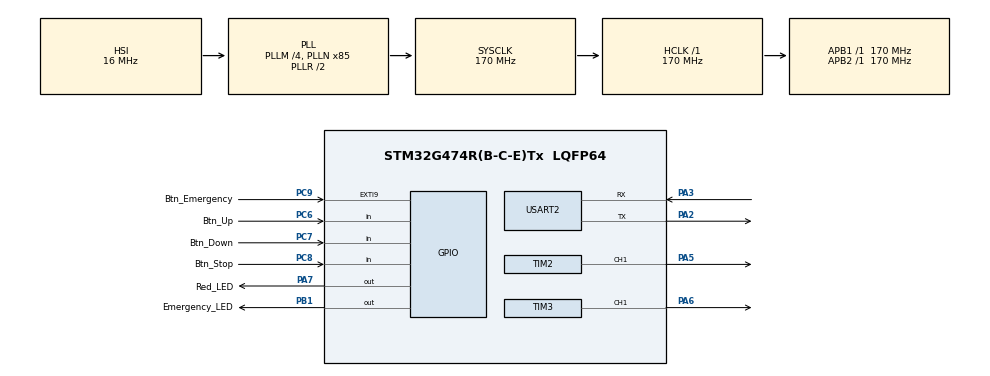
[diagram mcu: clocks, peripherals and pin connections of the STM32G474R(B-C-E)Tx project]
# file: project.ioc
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Mcu.Family=STM32G4
Mcu.Name=STM32G474R(B-C-E)Tx
Mcu.Package=LQFP64
NVIC.EXTI9_5_IRQn=true\:0\:0\:false\:false\:true\:true\:true\:true
NVIC.PriorityGroup=NVIC_PRIORITYGROUP_4
NVIC.USART2_IRQn=true\:1\:0\:true\:false\:true\:true\:true\:true
PA13.GPIO_Label=T_SWDIO
PA13.Signal=SYS_JTMS-SWDIO
PA14.GPIO_Label=T_SWCLK
PA14.Signal=SYS_JTCK-SWCLK
PA2.Mode=Asynchronous
PA2.Signal=USART2_TX
PA3.Mode=Asynchronous
PA3.Signal=USART2_RX
PA5.Signal=S_TIM2_CH1
PA6.Signal=S_TIM3_CH1
PA7.GPIO_Label=Red_LED
PA7.Signal=GPIO_Output
PB1.GPIO_Label=Emergency_LED
PB1.Signal=GPIO_Output
PB3.GPIO_Label=T_SWO
PB3.Signal=SYS_JTDO-SWO
PC14-OSC32_IN.GPIO_Label=RCC_OSC32_IN
PC14-OSC32_IN.Signal=RCC_OSC32_IN
PC15-OSC32_OUT.GPIO_Label=RCC_OSC32_OUT
PC15-OSC32_OUT.Signal=RCC_OSC32_OUT
PC6.GPIO_Label=Btn_Up
PC6.GPIO_PuPd=GPIO_PULLUP
PC6.Signal=GPIO_Input
PC7.GPIO_Label=Btn_Down
PC7.GPIO_PuPd=GPIO_PULLUP
PC7.Signal=GPIO_Input
PC8.GPIO_Label=Btn_Stop
PC8.GPIO_PuPd=GPIO_PULLUP
PC8.Signal=GPIO_Input
PC9.GPIO_Label=Btn_Emergency
PC9.GPIO_PuPd=GPIO_PULLUP
PC9.Signal=GPXTI9
PF0-OSC_IN.GPIO_Label=RCC_OSC_IN
PF0-OSC_IN.Signal=RCC_OSC_IN
PF1-OSC_OUT.GPIO_Label=RCC_OSC_OUT
PF1-OSC_OUT.Signal=RCC_OSC_OUT
ProjectManager.HeapSize=0x200
ProjectManager.StackSize=0x400
ProjectManager.TargetToolchain=STM32CubeIDE
RCC.ADC12Freq_Value=170000000
RCC.ADC345Freq_Value=170000000
RCC.AHBFreq_Value=170000000
RCC.APB1Freq_Value=170000000
RCC.APB1TimFreq_Value=170000000
RCC.APB2Freq_Value=170000000
RCC.APB2TimFreq_Value=170000000
RCC.CortexFreq_Value=170000000
RCC.EXTERNAL_CLOCK_VALUE=12288000
RCC.HCLKFreq_Value=170000000
RCC.HSE_VALUE=24000000
RCC.HSI48_VALUE=48000000
RCC.HSI_VALUE=16000000
RCC.LSE_VALUE=32768
RCC.PLLM=RCC_PLLM_DIV4
RCC.PLLN=85
RCC.RTCClockSelection=RCC_RTCCLKSOURCE_LSE
RCC.SYSCLKFreq_VALUE=170000000
RCC.SYSCLKSource=RCC_SYSCLKSOURCE_PLLCLK
RCC.USBFreq_Value=170000000
RCC.VCOOutputFreq_Value=340000000
SH.S_TIM2_CH1.0=TIM2_CH1,PWM Generation1 CH1
SH.S_TIM3_CH1.0=TIM3_CH1,PWM Generation1 CH1
TIM2.Channel-PWM\ Generation1\ CH1=TIM_CHANNEL_1
TIM2.Prescaler=169
TIM3.Channel-PWM\ Generation1\ CH1=TIM_CHANNEL_1
TIM3.Prescaler=169
USART2.VirtualMode-Asynchronous=VM_ASYNC
VP_SYS_VS_DBSignals.Mode=DisableDeadBatterySignals
board=NUCLEO-G474RE

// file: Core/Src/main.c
/* USER CODE BEGIN Header */
/**
  ******************************************************************************
  * @file           : main.c
  * @brief          : Smart Roller Shutter Control System for STM32G474RE
  *
  * 【專案設計提示詞與硬體規格摘要】
  * 1. 系統時脈：HSI 配置 PLL，核心主頻 170 MHz (FLASH_LATENCY_4, 電壓調節 Scale 1)。
  * 2. PWM 輸出 (漸亮呼吸燈)：
     - PA5 (TIM2_CH1)：綠燈，上升動作 0%~99% 漸亮 (Prescaler = 170-1, Period = 99)。
     - PA6 (TIM3_CH1)：黃燈，下降動作 0%~99% 漸亮 (Prescaler = 170-1, Period = 99)。
  * 3. GPIO 輸出：
     - PA7 (Red_LED)：推挽輸出，停止到位告示燈，停機時點亮 3 秒。
     - PB1 (Emergency_LED)：推挽輸出，緊急警報燈，急停時以 250ms 間隔規律閃爍。
  * 4. GPIO 輸入 (皆啟用內部 Pull-up，10ms 防彈跳)：
     - PC6 (Btn_Up)：上升按鈕。
     - PC7 (Btn_Down)：下降按鈕。
     - PC8 (Btn_Stop)：停止按鈕。
  * 5. 外部中斷 (EXTI)：
     - PC9 (Btn_Emergency)：緊急按鈕 (下降沿觸發，EXTI9_5_IRQn 最高優先級，旗標法處理)。
  * 6. 序列埠通訊 (USART2)：
     - PA2 (TX) / PA3 (RX)，115200 8N1，啟用中斷接收，支援終端機快捷指令。
  ******************************************************************************
  */
/* USER CODE END Header */

#include "main.h"
#include <stdio.h>
#include <string.h>

/* USER CODE BEGIN PTD */
/**
  * @brief 智慧鐵捲門有限狀態機 (FSM) 狀態定義
  */
typedef enum {
    STATE_IDLE = 0,       /* 0: 完全待機（所有燈號關閉，等待按鈕或指令） */
    STATE_RISING,         /* 1: 上升中（啟動 TIM2 PWM 綠燈 5 秒內漸亮至 99%） */
    STATE_FALLING,        /* 2: 下降中（啟動 TIM3 PWM 黃燈 5 秒內漸亮至 99%） */
    STATE_EMERGENCY,      /* 3: 緊急互鎖/急停（切斷 PWM，紅燈滅，PB1 警報燈 250ms 閃爍） */
    STATE_PAUSE           /* 4: 暫停保持（紅燈點亮維持 3 秒後自動歸零回待機） */
} SystemState_t;
/* USER CODE END PTD */

/* USER CODE BEGIN PD */
#define DEBOUNCE_DELAY_MS    10     /* 按鈕防彈跳間隔 (ms) */
#define TRAVEL_DURATION_MS   5000   /* 鐵捲門完整行程時間 (5秒) */
#define EMERGENCY_FLASH_MS   250    /* 緊急警報燈閃爍間隔 (250ms) */
#define PAUSE_DURATION_MS    3000   /* 暫停紅燈維持時間 (3秒) */
/* USER CODE END PD */

UART_HandleTypeDef huart2;
TIM_HandleTypeDef htim2;
TIM_HandleTypeDef htim3;

/* USER CODE BEGIN PV */
/* 系統狀態與計時變數 */
static SystemState_t current_state = STATE_IDLE;
static uint32_t state_timer = 0;
static uint32_t flash_timer = 0;
static uint32_t debounce_timer = 0;

/* PLC 聯網日誌統計計數器 */
static uint32_t total_ops = 0;
static uint32_t count_up = 0;
static uint32_t count_down = 0;
static uint32_t count_stop = 0;
static uint32_t count_emergency = 0;

/* 硬體與通訊變數 */
static uint8_t uart_rx_byte;
static volatile uint8_t emergency_flag = 0;
static GPIO_PinState last_btn_up = GPIO_PIN_SET;
static GPIO_PinState last_btn_down = GPIO_PIN_SET;
static GPIO_PinState last_btn_stop = GPIO_PIN_SET;
/* USER CODE END PV */

void SystemClock_Config(void);
static void MX_GPIO_Init(void);
static void MX_USART2_UART_Init(void);
static void MX_TIM2_Init(void);
static void MX_TIM3_Init(void);
/* USER CODE BEGIN PFP */
void Log_System_Status(const char* cmd_name);
void Process_Command(char cmd);
void Handle_Buttons(void);
/* USER CODE END PFP */

/* USER CODE BEGIN 0 */

/**
  * @brief  PLC 聯網日誌 (PLC Logger)
  * @note   每當有動作被觸發時，透過 USART2 傳送 Uptime 運行秒數以及各項操作累計次數
  */
void Log_System_Status(const char* cmd_name) {
    char tx_buf[128];
    uint32_t uptime_sec = HAL_GetTick() / 1000;

    int len = snprintf(tx_buf, sizeof(tx_buf),
        "[PLC LOG] Cmd: %s | Uptime: %lu s | Total: %lu | Up: %lu | Down: %lu | Stop: %lu | Emergency: %lu\r\n",
        cmd_name, uptime_sec, total_ops, count_up, count_down, count_stop, count_emergency);

    HAL_UART_Transmit(&huart2, (uint8_t*)tx_buf, len, HAL_MAX_DELAY);
}

/**
  * @brief  終端機指令與按鈕事件處理器
  * @note   支援對應指令：
  *         - u / U -> 觸發上升
  *         - d / D -> 觸發下降
  *         - s / S -> 觸發停止
  *         - e / E / c / C -> 切換/解除緊急互鎖
  */
void Process_Command(char cmd) {
    switch (cmd) {
        case 'u':
        case 'U':
            if (current_state == STATE_IDLE) {
                current_state = STATE_RISING;
                state_timer = HAL_GetTick();
                count_up++;
                total_ops++;
                Log_System_Status("UP");
            }
            break;

        case 'd':
        case 'D':
            if (current_state == STATE_IDLE) {
                current_state = STATE_FALLING;
                state_timer = HAL_GetTick();
                count_down++;
                total_ops++;
                Log_System_Status("DOWN");
            }
            break;

        case 's':
        case 'S':
            if (current_state == STATE_RISING || current_state == STATE_FALLING) {
                current_state = STATE_PAUSE;
                state_timer = HAL_GetTick();
                // 立即關閉 PWM 輸出
                __HAL_TIM_SET_COMPARE(&htim2, TIM_CHANNEL_1, 0);
                __HAL_TIM_SET_COMPARE(&htim3, TIM_CHANNEL_1, 0);
                HAL_TIM_PWM_Stop(&htim2, TIM_CHANNEL_1);
                HAL_TIM_PWM_Stop(&htim3, TIM_CHANNEL_1);
                // 點亮停止到位告示紅燈 (PA7)
                HAL_GPIO_WritePin(Red_LED_GPIO_Port, Red_LED_Pin, GPIO_PIN_SET);
                count_stop++;
                total_ops++;
                Log_System_Status("STOP");
            }
            break;

        case 'e':
        case 'E':
        case 'c':
        case 'C':
            if (current_state != STATE_EMERGENCY) {
                current_state = STATE_EMERGENCY;
                flash_timer = HAL_GetTick();
                // 立即切斷所有 PWM 與紅燈
                __HAL_TIM_SET_COMPARE(&htim2, TIM_CHANNEL_1, 0);
                __HAL_TIM_SET_COMPARE(&htim3, TIM_CHANNEL_1, 0);
                HAL_TIM_PWM_Stop(&htim2, TIM_CHANNEL_1);
                HAL_TIM_PWM_Stop(&htim3, TIM_CHANNEL_1);
                HAL_GPIO_WritePin(Red_LED_GPIO_Port, Red_LED_Pin, GPIO_PIN_RESET);

                count_emergency++;
                total_ops++;
                Log_System_Status("EMERGENCY_LOCK");
            } else {
                // 再次觸發則解除鎖定，回到完全待機狀態
                current_state = STATE_IDLE;
                HAL_GPIO_WritePin(Emergency_LED_GPIO_Port, Emergency_LED_Pin, GPIO_PIN_RESET);
                Log_System_Status("EMERGENCY_RELEASE");
            }
            break;

        default:
            break;
    }
}

/**
  * @brief  按鈕防彈跳與實體按鈕輪詢處理 (以 10ms 間隔執行)
  */
void Handle_Buttons(void) {
    if (HAL_GetTick() - debounce_timer >= DEBOUNCE_DELAY_MS) {
        debounce_timer = HAL_GetTick();

        // PC6: Btn_Up (內部 Pull-up，按下為 LOW)
        GPIO_PinState current_up = HAL_GPIO_ReadPin(Btn_Up_GPIO_Port, Btn_Up_Pin);
        if (current_up == GPIO_PIN_RESET && last_btn_up == GPIO_PIN_SET) {
            Process_Command('u');
        }
        last_btn_up = current_up;

        // PC7: Btn_Down (內部 Pull-up)
        GPIO_PinState current_down = HAL_GPIO_ReadPin(Btn_Down_GPIO_Port, Btn_Down_Pin);
        if (current_down == GPIO_PIN_RESET && last_btn_down == GPIO_PIN_SET) {
            Process_Command('d');
        }
        last_btn_down = current_down;

        // PC8: Btn_Stop (內部 Pull-up)
        GPIO_PinState current_stop = HAL_GPIO_ReadPin(Btn_Stop_GPIO_Port, Btn_Stop_Pin);
        if (current_stop == GPIO_PIN_RESET && last_btn_stop == GPIO_PIN_SET) {
            Process_Command('s');
        }
        last_btn_stop = current_stop;
    }
}

/**
  * @brief  UART 非同步接收完成回呼函式
  */
void HAL_UART_RxCpltCallback(UART_HandleTypeDef *huart) {
    if (huart->Instance == USART2) {
        Process_Command((char)uart_rx_byte);
        // 重新啟動中斷接收以持續聆聽終端機指令
        HAL_UART_Receive_IT(&huart2, &uart_rx_byte, 1);
    }
}

/**
  * @brief  GPIO 外部中斷回呼函式 (處理 PC9 緊急按鈕觸發)
  */
void HAL_GPIO_EXTI_Callback(uint16_t GPIO_Pin) {
    if (GPIO_Pin == Btn_Emergency_Pin) {
        emergency_flag = 1; // 設定旗標交由主迴圈安全處理
    }
}
/* USER CODE END 0 */

int main(void)
{

  /* MCU Configuration--------------------------------------------------------*/

  /* Reset of all peripherals, Initializes the Flash interface and the Systick. */
  HAL_Init();

  /* Configure the system clock */
  SystemClock_Config();

  /* Initialize all peripherals */
  MX_GPIO_Init();
  MX_USART2_UART_Init();
  MX_TIM2_Init();
  MX_TIM3_Init();
  /* USER CODE BEGIN 2 */

  // 強制手動初始化 PA5 (TIM2_CH1) 與 PA6 (TIM3_CH1) 為復用推挽輸出，確保綠燈與黃燈 PWM 輸出正常
  GPIO_InitTypeDef GPIO_InitStruct = {0};
  __HAL_RCC_GPIOA_CLK_ENABLE();

  GPIO_InitStruct.Pin = GPIO_PIN_5;
  GPIO_InitStruct.Mode = GPIO_MODE_AF_PP;
  GPIO_InitStruct.Pull = GPIO_NOPULL;
  GPIO_InitStruct.Speed = GPIO_SPEED_FREQ_LOW;
  GPIO_InitStruct.Alternate = GPIO_AF1_TIM2;
  HAL_GPIO_Init(GPIOA, &GPIO_InitStruct);

  GPIO_InitStruct.Pin = GPIO_PIN_6;
  GPIO_InitStruct.Mode = GPIO_MODE_AF_PP;
  GPIO_InitStruct.Pull = GPIO_NOPULL;
  GPIO_InitStruct.Speed = GPIO_SPEED_FREQ_LOW;
  GPIO_InitStruct.Alternate = GPIO_AF2_TIM3;
  HAL_GPIO_Init(GPIOA, &GPIO_InitStruct);

  // 啟動序列埠中斷接收並發送開機日誌
  HAL_UART_Receive_IT(&huart2, &uart_rx_byte, 1);
  Log_System_Status("SYSTEM_BOOT");

  /* USER CODE END 2 */

  /* Infinite loop */
  /* USER CODE BEGIN WHILE */
  while (1)
  {
      // 1. 處理外部中斷旗標 (安全交由主迴圈處理緊急按鈕)
      if (emergency_flag) {
          emergency_flag = 0;
          Process_Command('e');
      }

      // 2. 實體按鈕輪詢防彈跳
      Handle_Buttons();

      // 3. 有限狀態機 (FSM) 核心運作邏輯
      switch (current_state) {
          case STATE_IDLE:
              // 狀態 0：完全待機，關閉所有燈號
              HAL_GPIO_WritePin(Red_LED_GPIO_Port, Red_LED_Pin, GPIO_PIN_RESET);
              HAL_GPIO_WritePin(Emergency_LED_GPIO_Port, Emergency_LED_Pin, GPIO_PIN_RESET);
              break;

          case STATE_RISING: {
              // 狀態 1：上升中，綠燈 (TIM2_CH1) 5 秒內線性從 0% 漸亮至 99%
              uint32_t elapsed = HAL_GetTick() - state_timer;
              if (elapsed < TRAVEL_DURATION_MS) {
                  uint32_t duty = (elapsed * 99) / TRAVEL_DURATION_MS;
                  if (duty > 99) duty = 99;

                  if (HAL_TIM_PWM_GetState(&htim2) == HAL_TIM_STATE_READY) {
                      HAL_TIM_PWM_Start(&htim2, TIM_CHANNEL_1);
                  }
                  __HAL_TIM_SET_COMPARE(&htim2, TIM_CHANNEL_1, duty);
              } else {
                  // 行程超過 5 秒自動切換至暫停保持狀態
                  HAL_TIM_PWM_Stop(&htim2, TIM_CHANNEL_1);
                  __HAL_TIM_SET_COMPARE(&htim2, TIM_CHANNEL_1, 0);
                  current_state = STATE_PAUSE;
                  state_timer = HAL_GetTick();
                  HAL_GPIO_WritePin(Red_LED_GPIO_Port, Red_LED_Pin, GPIO_PIN_SET);
                  count_stop++;
                  total_ops++;
                  Log_System_Status("TRAVEL_COMPLETE_UP");
              }
              break;
          }

          case STATE_FALLING: {
              // 狀態 2：下降中，黃燈 (TIM3_CH1) 5 秒內線性從 0% 漸亮至 99%
              uint32_t elapsed = HAL_GetTick() - state_timer;
              if (elapsed < TRAVEL_DURATION_MS) {
                  uint32_t duty = (elapsed * 99) / TRAVEL_DURATION_MS;
                  if (duty > 99) duty = 99;

                  if (HAL_TIM_PWM_GetState(&htim3) == HAL_TIM_STATE_READY) {
                      HAL_TIM_PWM_Start(&htim3, TIM_CHANNEL_1);
                  }
                  __HAL_TIM_SET_COMPARE(&htim3, TIM_CHANNEL_1, duty);
              } else {
                  // 行程超過 5 秒自動切換至暫停保持狀態
                  HAL_TIM_PWM_Stop(&htim3, TIM_CHANNEL_1);
                  __HAL_TIM_SET_COMPARE(&htim3, TIM_CHANNEL_1, 0);
                  current_state = STATE_PAUSE;
                  state_timer = HAL_GetTick();
                  HAL_GPIO_WritePin(Red_LED_GPIO_Port, Red_LED_Pin, GPIO_PIN_SET);
                  count_stop++;
                  total_ops++;
                  Log_System_Status("TRAVEL_COMPLETE_DOWN");
              }
              break;
          }

          case STATE_EMERGENCY: {
              // 狀態 3：緊急互鎖/急停，PB1 緊急警報燈每 250ms 規律閃爍
              if (HAL_GetTick() - flash_timer >= EMERGENCY_FLASH_MS) {
                  flash_timer = HAL_GetTick();
                  HAL_GPIO_TogglePin(Emergency_LED_GPIO_Port, Emergency_LED_Pin);
              }
              break;
          }

          case STATE_PAUSE: {
              // 狀態 4：暫停保持，PA7 紅燈點亮維持 3 秒後自動歸零回到待機
              if (HAL_GetTick() - state_timer >= PAUSE_DURATION_MS) {
                  HAL_GPIO_WritePin(Red_LED_GPIO_Port, Red_LED_Pin, GPIO_PIN_RESET);
                  current_state = STATE_IDLE;
                  Log_System_Status("PAUSE_TIMEOUT_IDLE");
              }
              break;
          }

          default:
              current_state = STATE_IDLE;
              break;
      }
    /* USER CODE END WHILE */

  }
}

void SystemClock_Config(void)
{
  RCC_OscInitTypeDef RCC_OscInitStruct = {0};
  RCC_ClkInitTypeDef RCC_ClkInitStruct = {0};

  /** Configure the main internal regulator output voltage
  */
  HAL_PWREx_ControlVoltageScaling(PWR_REGULATOR_VOLTAGE_SCALE1);

  /** Initializes the RCC Oscillators according to the specified parameters
  * in the RCC_OscInitTypeDef structure.
  */
  RCC_OscInitStruct.OscillatorType = RCC_OSCILLATORTYPE_HSI;
  RCC_OscInitStruct.HSIState = RCC_HSI_ON;
  RCC_OscInitStruct.HSICalibrationValue = RCC_HSICALIBRATION_DEFAULT;
  RCC_OscInitStruct.PLL.PLLState = RCC_PLL_ON;
  RCC_OscInitStruct.PLL.PLLSource = RCC_PLLSOURCE_HSI;
  RCC_OscInitStruct.PLL.PLLM = RCC_PLLM_DIV4;
  RCC_OscInitStruct.PLL.PLLN = 85;
  RCC_OscInitStruct.PLL.PLLP = RCC_PLLP_DIV2;
  RCC_OscInitStruct.PLL.PLLQ = RCC_PLLQ_DIV2;
  RCC_OscInitStruct.PLL.PLLR = RCC_PLLR_DIV2;
  if (HAL_RCC_OscConfig(&RCC_OscInitStruct) != HAL_OK)
  {
    Error_Handler();
  }

  /** Initializes the CPU, AHB and APB buses clocks
  */
  RCC_ClkInitStruct.ClockType = RCC_CLOCKTYPE_HCLK|RCC_CLOCKTYPE_SYSCLK
                              |RCC_CLOCKTYPE_PCLK1|RCC_CLOCKTYPE_PCLK2;
  RCC_ClkInitStruct.SYSCLKSource = RCC_SYSCLKSOURCE_PLLCLK;
  RCC_ClkInitStruct.AHBCLKDivider = RCC_SYSCLK_DIV1;
  RCC_ClkInitStruct.APB1CLKDivider = RCC_HCLK_DIV1;
  RCC_ClkInitStruct.APB2CLKDivider = RCC_HCLK_DIV1;

  if (HAL_RCC_ClockConfig(&RCC_ClkInitStruct, FLASH_LATENCY_4) != HAL_OK)
  {
    Error_Handler();
  }
}

static void MX_TIM2_Init(void)
{
  TIM_MasterConfigTypeDef sMasterConfig = {0};
  TIM_OC_InitTypeDef sConfigOC = {0};

  htim2.Instance = TIM2;
  htim2.Init.Prescaler = 170 - 1;
  htim2.Init.CounterMode = TIM_COUNTERMODE_UP;
  htim2.Init.Period = 99;
  htim2.Init.ClockDivision = TIM_CLOCKDIVISION_DIV1;
  htim2.Init.AutoReloadPreload = TIM_AUTORELOAD_PRELOAD_ENABLE;
  if (HAL_TIM_PWM_Init(&htim2) != HAL_OK)
  {
    Error_Handler();
  }
  sMasterConfig.MasterOutputTrigger = TIM_TRGO_RESET;
  sMasterConfig.MasterSlaveMode = TIM_SLAVEMODE_DISABLE;
  if (HAL_TIMEx_MasterConfigSynchronization(&htim2, &sMasterConfig) != HAL_OK)
  {
    Error_Handler();
  }
  sConfigOC.OCMode = TIM_OCMODE_PWM1;
  sConfigOC.Pulse = 0;
  sConfigOC.OCPolarity = TIM_OCPOLARITY_HIGH;
  sConfigOC.OCFastMode = TIM_OCFAST_DISABLE;
  if (HAL_TIM_PWM_ConfigChannel(&htim2, &sConfigOC, TIM_CHANNEL_1) != HAL_OK)
  {
    Error_Handler();
  }
}

static void MX_TIM3_Init(void)
{
  TIM_MasterConfigTypeDef sMasterConfig = {0};
  TIM_OC_InitTypeDef sConfigOC = {0};

  htim3.Instance = TIM3;
  htim3.Init.Prescaler = 170 - 1;
  htim3.Init.CounterMode = TIM_COUNTERMODE_UP;
  htim3.Init.Period = 99;
  htim3.Init.ClockDivision = TIM_CLOCKDIVISION_DIV1;
  htim3.Init.AutoReloadPreload = TIM_AUTORELOAD_PRELOAD_ENABLE;
  if (HAL_TIM_PWM_Init(&htim3) != HAL_OK)
  {
    Error_Handler();
  }
  sMasterConfig.MasterOutputTrigger = TIM_TRGO_RESET;
  sMasterConfig.MasterSlaveMode = TIM_SLAVEMODE_DISABLE;
  if (HAL_TIMEx_MasterConfigSynchronization(&htim3, &sMasterConfig) != HAL_OK)
  {
    Error_Handler();
  }
  sConfigOC.OCMode = TIM_OCMODE_PWM1;
  sConfigOC.Pulse = 0;
  sConfigOC.OCPolarity = TIM_OCPOLARITY_HIGH;
  sConfigOC.OCFastMode = TIM_OCFAST_DISABLE;
  if (HAL_TIM_PWM_ConfigChannel(&htim3, &sConfigOC, TIM_CHANNEL_1) != HAL_OK)
  {
    Error_Handler();
  }
}

static void MX_USART2_UART_Init(void)
{
  huart2.Instance = USART2;
  huart2.Init.BaudRate = 115200;
  huart2.Init.WordLength = UART_WORDLENGTH_8B;
  huart2.Init.StopBits = UART_STOPBITS_1;
  huart2.Init.Parity = UART_PARITY_NONE;
  huart2.Init.Mode = UART_MODE_TX_RX;
  huart2.Init.OverSampling = UART_OVERSAMPLING_16;

  if (HAL_UART_Init(&huart2) != HAL_OK)
  {
    Error_Handler();
  }
}

static void MX_GPIO_Init(void)
{
  GPIO_InitTypeDef GPIO_InitStruct = {0};

  /* GPIO Ports Clock Enable */
  __HAL_RCC_GPIOA_CLK_ENABLE();
  __HAL_RCC_GPIOB_CLK_ENABLE();
  __HAL_RCC_GPIOC_CLK_ENABLE();

  /* Configure GPIO pin Output Level */
  HAL_GPIO_WritePin(GPIOA, Red_LED_Pin, GPIO_PIN_RESET);
  HAL_GPIO_WritePin(Emergency_LED_GPIO_Port, Emergency_LED_Pin, GPIO_PIN_RESET);

  /* Configure GPIO pin : Red_LED_Pin (PA7) - 停止到位告示燈 */
  GPIO_InitStruct.Pin = Red_LED_Pin;
  GPIO_InitStruct.Mode = GPIO_MODE_OUTPUT_PP;
  GPIO_InitStruct.Pull = GPIO_NOPULL;
  GPIO_InitStruct.Speed = GPIO_SPEED_FREQ_LOW;
  HAL_GPIO_Init(Red_LED_GPIO_Port, &GPIO_InitStruct);

  /* Configure GPIO pin : Emergency_LED_Pin (PB1) - 緊急警報燈 */
  GPIO_InitStruct.Pin = Emergency_LED_Pin;
  GPIO_InitStruct.Mode = GPIO_MODE_OUTPUT_PP;
  GPIO_InitStruct.Pull = GPIO_NOPULL;
  GPIO_InitStruct.Speed = GPIO_SPEED_FREQ_LOW;
  HAL_GPIO_Init(Emergency_LED_GPIO_Port, &GPIO_InitStruct);

  /* Configure GPIO pins : Btn_Up_Pin (PC6) Btn_Down_Pin (PC7) Btn_Stop_Pin (PC8) - 啟用內部 Pull-up */
  GPIO_InitStruct.Pin = Btn_Up_Pin | Btn_Down_Pin | Btn_Stop_Pin;
  GPIO_InitStruct.Mode = GPIO_MODE_INPUT;
  GPIO_InitStruct.Pull = GPIO_PULLUP;
  HAL_GPIO_Init(GPIOC, &GPIO_InitStruct);

  /* Configure GPIO pin : Btn_Emergency_Pin (PC9) - 外部中斷下降沿觸發 */
  GPIO_InitStruct.Pin = Btn_Emergency_Pin;
  GPIO_InitStruct.Mode = GPIO_MODE_IT_FALLING;
  GPIO_InitStruct.Pull = GPIO_PULLUP;
  HAL_GPIO_Init(Btn_Emergency_GPIO_Port, &GPIO_InitStruct);

  /* EXTI interrupt init-> NVIC Priority (設定 EXTI9_5_IRQn 為最高優先級 0,0) */
  HAL_NVIC_SetPriority(EXTI9_5_IRQn, 0, 0);
  HAL_NVIC_EnableIRQ(EXTI9_5_IRQn);
}

void Error_Handler(void)
{
  __disable_irq();
  while (1)
  {
  }
}
